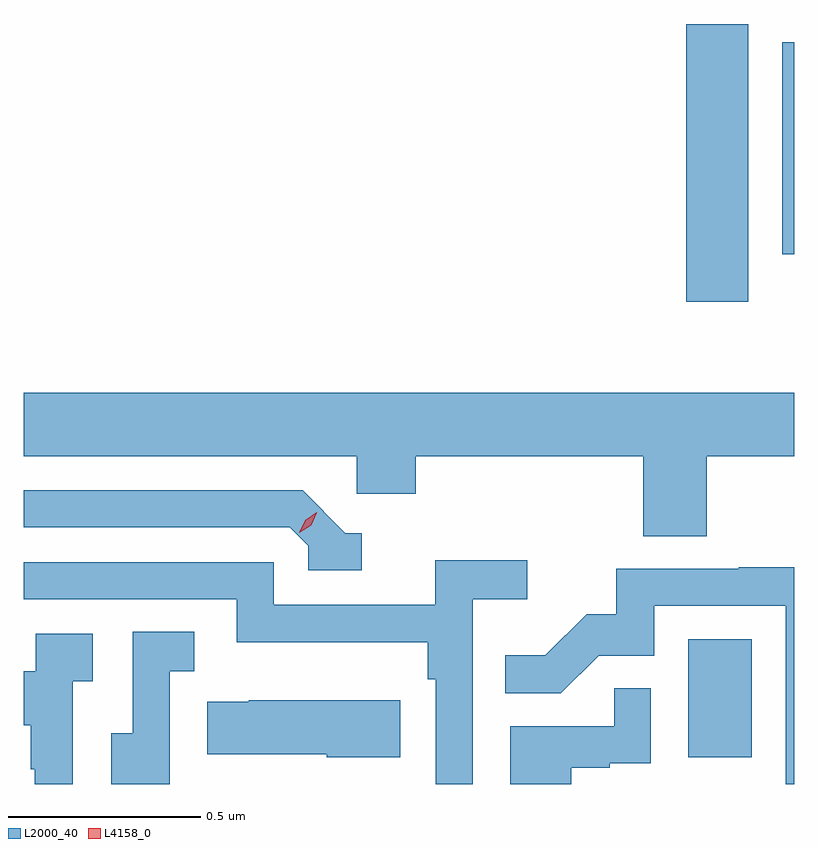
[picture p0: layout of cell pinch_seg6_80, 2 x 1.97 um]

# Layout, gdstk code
import gdstk
lib = gdstk.Library(unit=1e-6, precision=1e-09)
def R(c, l, rs):  # rectangles x0, y0, x1, y1
    for r in rs: c.add(gdstk.rectangle(r[:2], r[2:], *l))
def P(c, l, *ps):  # polygons
    for p in ps: c.add(gdstk.Polygon(p, *l))
L2000_40 = (2000, 40)
L4158_0 = (4158, 0)

pinch_seg6_80 = lib.new_cell('pinch_seg6_80')
R(pinch_seg6_80, L2000_40, [(888.416,931.902,888.58,932.209), (888.41,933.084,888.571,933.805), (888.66,933.207,888.691,933.758)])
P(pinch_seg6_80, L2000_40, [(886.691,932.684),(887.556,932.684),(887.556,932.586),(887.708,932.586),(887.708,932.684),(888.299,932.684),(888.299,932.476),(888.464,932.476),(888.464,932.684),(888.691,932.684),(888.691,932.848),(886.691,932.848)],
  [(887.569,932.484),(887.526,932.484),(887.415,932.595),(886.691,932.595),(886.691,932.499),(887.382,932.499),(887.43,932.451),(887.43,932.388),(887.569,932.388)],
  [(887.856,932.312),(887.998,932.312),(887.998,932.414),(887.759,932.414),(887.759,932.298),(887.34,932.298),(887.34,932.409),(886.691,932.409),(886.691,932.313),(887.244,932.313),(887.244,932.201),(887.74,932.201),(887.74,932.105),(887.76,932.105),(887.76,931.833),(887.856,931.833)],
  [(888.691,932.396),(888.547,932.396),(888.547,932.391),(888.229,932.391),(888.229,932.274),(888.152,932.274),(888.045,932.167),(887.941,932.167),(887.941,932.068),(888.085,932.068),(888.183,932.166),(888.327,932.166),(888.327,932.295),(888.669,932.295),(888.669,931.833),(888.691,931.833)],
  [(887.07,932.125),(887.134,932.125),(887.134,932.228),(886.974,932.228),(886.974,931.965),(886.919,931.965),(886.919,931.833),(887.07,931.833)],
  [(886.818,932.099),(886.87,932.099),(886.87,932.223),(886.722,932.223),(886.722,932.125),(886.691,932.125),(886.691,931.985),(886.71,931.985),(886.71,931.871),(886.72,931.871),(886.72,931.833),(886.818,931.833)],
  [(888.112,931.875),(888.212,931.875),(888.212,931.887),(888.318,931.887),(888.318,932.081),(888.223,932.081),(888.223,931.983),(887.954,931.983),(887.954,931.833),(888.112,931.833)],
  [(887.668,932.05),(887.275,932.05),(887.275,932.047),(887.167,932.047),(887.167,931.91),(887.477,931.91),(887.477,931.903),(887.668,931.903)])
P(pinch_seg6_80, L4158_0, [(887.406,932.485),(887.406,932.485),(887.422,932.518),(887.452,932.538),(887.452,932.538),(887.452,932.537),(887.437,932.505),(887.406,932.485)])

lib.write_gds('pinch_seg6_80.gds')
